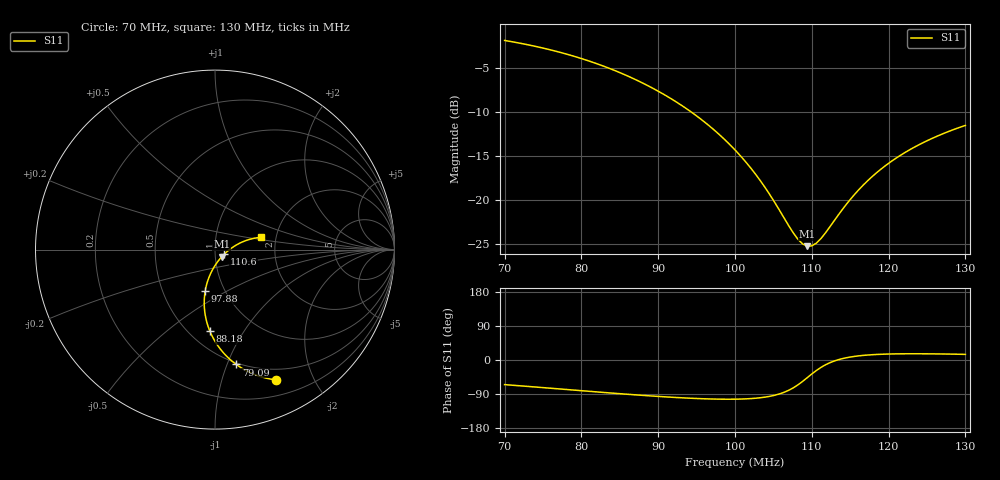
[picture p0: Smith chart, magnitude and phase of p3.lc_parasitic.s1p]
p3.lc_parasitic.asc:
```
Version 4
SHEET 1 1028 680
WIRE 96 128 16 128
WIRE 224 128 176 128
WIRE 320 128 304 128
WIRE 368 128 320 128
WIRE 432 128 368 128
WIRE 624 128 528 128
WIRE 752 128 624 128
WIRE 864 128 816 128
WIRE 960 128 864 128
WIRE 16 160 16 128
WIRE 432 160 368 160
WIRE 592 160 528 160
WIRE 592 208 592 160
WIRE 864 208 592 208
WIRE 960 208 864 208
WIRE 224 224 192 224
WIRE 336 224 304 224
WIRE 368 224 368 160
WIRE 592 224 592 208
WIRE 192 272 192 224
WIRE 192 272 128 272
WIRE 128 288 128 272
WIRE 192 320 192 272
WIRE 224 320 192 320
WIRE 320 320 320 128
WIRE 320 320 304 320
WIRE 80 416 -32 416
WIRE 224 416 80 416
WIRE 336 416 336 224
WIRE 336 416 304 416
WIRE 512 416 336 416
WIRE 640 416 512 416
FLAG 16 240 0
FLAG 128 288 0
FLAG -32 496 0
FLAG 640 496 0
FLAG 592 224 0
FLAG 368 224 0
FLAG 16 128 input
FLAG 368 128 sumwaves
FLAG 624 128 load
FLAG 512 416 reflectedwaveover20
FLAG 80 416 minusincidentwaveover20
SYMBOL Res 192 112 R90
WINDOW 0 0 56 VBottom 2
WINDOW 3 32 56 VTop 2
SYMATTR InstName R4
SYMATTR Value 50
SYMBOL Voltage 16 144 R0
WINDOW 3 24 96 Invisible 2
WINDOW 123 21 96 Left 2
SYMATTR Value ""
SYMATTR Value2 AC 1
SYMATTR InstName V1
SYMBOL ind2 208 144 R270
WINDOW 0 32 56 VTop 2
WINDOW 3 5 56 VBottom 2
SYMATTR InstName L1
SYMATTR Value 1µ
SYMATTR Type ind
SYMBOL ind2 208 240 R270
WINDOW 0 32 56 VTop 2
WINDOW 3 5 56 VBottom 2
SYMATTR InstName L2
SYMATTR Value 100µ
SYMATTR Type ind
SYMBOL ind2 208 336 R270
WINDOW 0 32 56 VTop 2
WINDOW 3 5 56 VBottom 2
SYMATTR InstName L3
SYMATTR Value 100µ
SYMATTR Type ind
SYMBOL ind2 208 432 R270
WINDOW 0 32 56 VTop 2
WINDOW 3 5 56 VBottom 2
SYMATTR InstName L4
SYMATTR Value 1µ
SYMATTR Type ind
SYMBOL Res -48 400 R0
SYMATTR InstName R2
SYMATTR Value 50
SYMBOL Res 624 400 R0
SYMATTR InstName R3
SYMATTR Value 50
SYMBOL tline 480 144 R0
SYMATTR InstName T1
SYMATTR Value Td=240p Z0=50
SYMBOL Res 944 112 R0
SYMATTR InstName R1
SYMATTR Value 270
SYMBOL Ind 848 112 R0
SYMATTR InstName L5
SYMATTR Value 200n
SYMBOL Cap 816 112 R90
WINDOW 0 0 32 VBottom 2
WINDOW 3 32 32 VTop 2
SYMATTR InstName C1
SYMATTR Value 13p
TEXT 440 264 Left 2 !.ac lin 100k 70Meg 20G
TEXT 552 296 Left 2 !K1 L1 L2 1
TEXT 552 328 Left 2 !K2 L3 L4 1
```
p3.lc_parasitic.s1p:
# Hz S RI R 50
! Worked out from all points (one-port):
!   100 points, 70 MHz to 130 MHz, reference 50 ohm
!   lowest |S11| = -25.2 dB at 109.4 MHz (marker M1), VSWR 1.12, Z = 53.7 - j4.31 ohm
!   |S11| at or under -10 dB: 94.26 MHz to end of sweep
!   S11 on the Smith chart (normalised r, x): 70 MHz: 0.37, -1.51; 79.09 MHz: 0.49, -1.08; 88.18 MHz: 0.63, -0.72; 97.88 MHz: 0.81, -0.40; 110.6 MHz: 1.11, -0.06; 130 MHz: 1.67, +0.24
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7e7  0.3388 -0.7258
7.909091e7  0.1184 -0.6398
8.818182e7  -0.0286 -0.4541
9e7  -0.0437 -0.411
9.787879e7  -0.0545 -0.2302
1.021212e8  -0.0306 -0.1474
1.075758e8  0.0184 -0.0627
1.093939e8  0.0375 -0.04
1.1e8  0.044 -0.0331
1.106061e8  0.0506 -0.0264
1.154545e8  0.1049 0.0171
1.190909e8  0.1454 0.0394
1.239394e8  0.1971 0.0582
1.3e8  0.2558 0.0679
